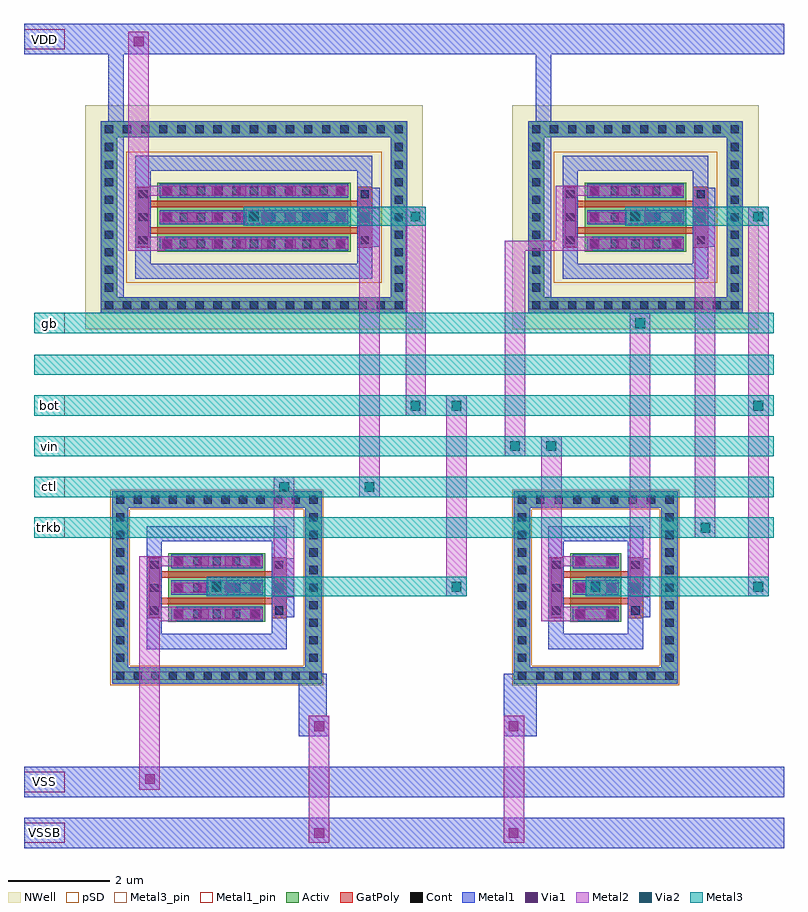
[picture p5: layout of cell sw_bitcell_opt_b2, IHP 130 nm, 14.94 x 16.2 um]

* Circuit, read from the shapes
.subckt sw_bitcell_opt_b2 VDD VSS VSSB bot ctl gb trkb vin
XM1 bot ctl VSS VSSB sg13_lv_nmos w=1.9u l=0.13u m=2
XM2 bot gb vin VSSB sg13_lv_nmos w=1u l=0.13u m=2
XM3 bot ctl VDD VDD sg13_lv_pmos w=3.8u l=0.13u m=2
XM4 bot trkb vin VDD sg13_lv_pmos w=2u l=0.13u m=2
.ends

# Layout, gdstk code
import gdstk
lib = gdstk.Library(unit=1e-6, precision=1e-09)
def R(c, l, rs):  # rectangles x0, y0, x1, y1
    for r in rs: c.add(gdstk.rectangle(r[:2], r[2:], *l))
def A(c, l, x, y, w, h, nx, ny, dx, dy):  # array of equal rectangles
    R(c, l, [(x+i*dx, y+j*dy, x+i*dx+w, y+j*dy+h) for i in range(nx) for j in range(ny)])
def P(c, l, *ps):  # polygons
    for p in ps: c.add(gdstk.Polygon(p, *l))
Activ = (1, 0)
GatPoly = (5, 0)
Cont = (6, 0)
Metal1 = (8, 0)
Metal1_pin = (8, 2)
Metal2 = (10, 0)
pSD = (14, 0)
Via1 = (19, 0)
Via2 = (29, 0)
Metal3 = (30, 0)
Metal3_pin = (30, 2)
NWell = (31, 0)

rfnmos_8 = lib.new_cell('rfnmos$8')
R(rfnmos_8, Activ, [(1.14,1.245,3.04,2.595)])
P(rfnmos_8, Activ, [(0.03,0.03),(0.03,3.49),(0.35,3.49),(0.35,0.35),(3.83,0.35),(3.83,3.49),(0.03,3.49),(0.03,3.81),(4.15,3.81),(4.15,0.03)])
R(rfnmos_8, GatPoly, [(0.71,1.32,1.01,2.52), (3.17,1.32,3.47,2.52), (1.01,1.595,3.17,1.725), (1.01,2.115,3.17,2.245)])
A(rfnmos_8, Cont, 0.11, 0.11, 0.16, 0.16, 11, 2, 0.345, 3.46)
A(rfnmos_8, Cont, 0.11, 0.46, 0.16, 0.16, 1, 9, 0, 0.345)
A(rfnmos_8, Cont, 3.91, 0.46, 0.16, 0.16, 1, 9, 0, 0.345)
A(rfnmos_8, Cont, 1.24, 1.32, 0.16, 0.16, 5, 3, 0.385, 0.52)
A(rfnmos_8, Cont, 0.78, 1.39, 0.16, 0.16, 1, 3, 0, 0.45)
A(rfnmos_8, Cont, 3.24, 1.39, 0.16, 0.16, 1, 3, 0, 0.45)
R(rfnmos_8, Cont, [(3.91,0.11,4.07,0.27), (3.91,3.57,4.07,3.73)])
A(rfnmos_8, Metal1, 1.19, 1.26, 1.8, 0.28, 1, 3, 0, 0.52)
R(rfnmos_8, Metal1, [(0.03,0.03,4.15,0.35), (0.03,0.35,0.35,3.49), (3.83,0.35,4.15,3.49), (0.76,1.34,0.96,2.5), (3.22,1.34,3.42,2.5), (0.03,3.49,4.15,3.81)])
P(rfnmos_8, Metal1, [(0.71,0.71),(0.71,2.83),(1.01,2.83),(1.01,1.01),(3.17,1.01),(3.17,2.83),(0.71,2.83),(0.71,3.13),(3.47,3.13),(3.47,0.71)])
R(rfnmos_8, Metal1_pin, [(0.03,0.11,4.15,0.27), (0.03,0.11,4.15,0.27), (1.19,1.26,2.99,1.54), (1.19,1.26,2.99,1.54), (0.76,1.34,0.96,2.5), (0.76,1.34,0.96,2.5), (1.19,1.78,2.99,2.06), (1.19,1.78,2.99,2.06)])
A(rfnmos_8, Metal2, 1.19, 1.3, 1.8, 0.2, 1, 3, 0, 0.52)
P(rfnmos_8, pSD, [(0,0),(0,3.46),(0.38,3.46),(0.38,0.38),(3.8,0.38),(3.8,3.46),(0,3.46),(0,3.84),(4.18,3.84),(4.18,0)])
A(rfnmos_8, Via1, 1.24, 1.305, 0.19, 0.19, 1, 3, 0, 0.52)
A(rfnmos_8, Via1, 1.74, 1.305, 0.19, 0.19, 3, 3, 0.505, 0.52)
rfnmos_8.add(gdstk.Label('S', (2.09,1.42), layer=63, texttype=0))
rfnmos_8.add(gdstk.Label('D', (2.09,1.94), layer=63, texttype=0))
rfnmos_8.add(gdstk.Label('G', (0.86,1.92), layer=63, texttype=0))
rfnmos_8.add(gdstk.Label('TIE', (2.09,0.19), layer=63, texttype=0))
rfnmos_8.add(gdstk.Label('rfnmos', (2.09,3.65), layer=63, texttype=0))

rfpmos_7 = lib.new_cell('rfpmos$7')
R(rfpmos_7, Activ, [(1.42,1.525,5.22,2.875)])
P(rfpmos_7, Activ, [(0.31,0.31),(0.31,3.77),(0.63,3.77),(0.63,0.63),(6.01,0.63),(6.01,3.77),(0.31,3.77),(0.31,4.09),(6.33,4.09),(6.33,0.31)])
R(rfpmos_7, GatPoly, [(0.99,1.6,1.29,2.8), (5.35,1.6,5.65,2.8), (1.29,1.875,5.35,2.005), (1.29,2.395,5.35,2.525)])
A(rfpmos_7, Cont, 0.39, 0.39, 0.16, 0.16, 4, 2, 0.355, 3.46)
A(rfpmos_7, Cont, 1.815, 0.39, 0.16, 0.16, 4, 2, 0.355, 3.46)
A(rfpmos_7, Cont, 3.24, 0.39, 0.16, 0.16, 4, 2, 0.355, 3.46)
A(rfpmos_7, Cont, 4.665, 0.39, 0.16, 0.16, 4, 2, 0.355, 3.46)
A(rfpmos_7, Cont, 0.39, 0.74, 0.16, 0.16, 1, 9, 0, 0.345)
A(rfpmos_7, Cont, 6.09, 0.74, 0.16, 0.16, 1, 9, 0, 0.345)
A(rfpmos_7, Cont, 1.52, 1.6, 0.16, 0.16, 1, 3, 0, 0.52)
A(rfpmos_7, Cont, 1.86, 1.6, 0.16, 0.16, 5, 3, 0.345, 0.52)
A(rfpmos_7, Cont, 3.58, 1.6, 0.16, 0.16, 5, 3, 0.345, 0.52)
A(rfpmos_7, Cont, 1.06, 1.67, 0.16, 0.16, 1, 3, 0, 0.45)
A(rfpmos_7, Cont, 5.42, 1.67, 0.16, 0.16, 1, 3, 0, 0.45)
R(rfpmos_7, Cont, [(6.09,0.39,6.25,0.55), (6.09,3.85,6.25,4.01)])
A(rfpmos_7, Metal1, 1.47, 1.54, 3.7, 0.28, 1, 3, 0, 0.52)
R(rfpmos_7, Metal1, [(0.31,0.31,6.33,0.63), (0.31,0.63,0.63,3.77), (6.01,0.63,6.33,3.77), (1.04,1.62,1.24,2.78), (5.4,1.62,5.6,2.78), (0.31,3.77,6.33,4.09)])
P(rfpmos_7, Metal1, [(0.99,0.99),(0.99,3.11),(1.29,3.11),(1.29,1.29),(5.35,1.29),(5.35,3.11),(0.99,3.11),(0.99,3.41),(5.65,3.41),(5.65,0.99)])
R(rfpmos_7, Metal1_pin, [(0.31,0.39,6.33,0.55), (0.31,0.39,6.33,0.55), (1.47,1.54,5.17,1.82), (1.47,1.54,5.17,1.82), (1.04,1.62,1.24,2.78), (1.04,1.62,1.24,2.78), (1.47,2.06,5.17,2.34), (1.47,2.06,5.17,2.34)])
A(rfpmos_7, Metal2, 1.47, 1.58, 3.7, 0.2, 1, 3, 0, 0.52)
R(rfpmos_7, pSD, [(0.81,0.91,5.83,3.49)])
A(rfpmos_7, Via1, 1.52, 1.585, 0.19, 0.19, 3, 3, 0.485, 0.52)
A(rfpmos_7, Via1, 2.98, 1.585, 0.19, 0.19, 1, 3, 0, 0.52)
A(rfpmos_7, Via1, 3.465, 1.585, 0.19, 0.19, 1, 3, 0, 0.52)
A(rfpmos_7, Via1, 3.955, 1.585, 0.19, 0.19, 1, 3, 0, 0.52)
A(rfpmos_7, Via1, 4.44, 1.585, 0.19, 0.19, 1, 3, 0, 0.52)
A(rfpmos_7, Via1, 4.93, 1.585, 0.19, 0.19, 1, 3, 0, 0.52)
R(rfpmos_7, NWell, [(0,0,6.64,4.4)])
rfpmos_7.add(gdstk.Label('S', (3.32,1.7), layer=63, texttype=0))
rfpmos_7.add(gdstk.Label('D', (3.32,2.22), layer=63, texttype=0))
rfpmos_7.add(gdstk.Label('G', (1.14,2.2), layer=63, texttype=0))
rfpmos_7.add(gdstk.Label('TIE', (3.32,0.47), layer=63, texttype=0))
rfpmos_7.add(gdstk.Label('rfpmos', (3.32,3.93), layer=63, texttype=0))

rfnmos_1_4 = lib.new_cell('rfnmos$1$4')
R(rfnmos_1_4, Activ, [(1.14,1.245,2.14,2.595)])
P(rfnmos_1_4, Activ, [(0.03,0.03),(0.03,3.49),(0.35,3.49),(0.35,0.35),(2.93,0.35),(2.93,3.49),(0.03,3.49),(0.03,3.81),(3.25,3.81),(3.25,0.03)])
R(rfnmos_1_4, GatPoly, [(0.71,1.32,1.01,2.52), (2.27,1.32,2.57,2.52), (1.01,1.595,2.27,1.725), (1.01,2.115,2.27,2.245)])
A(rfnmos_1_4, Cont, 0.11, 0.46, 0.16, 0.16, 1, 9, 0, 0.345)
A(rfnmos_1_4, Cont, 3.01, 0.46, 0.16, 0.16, 1, 9, 0, 0.345)
A(rfnmos_1_4, Cont, 1.24, 1.32, 0.16, 0.16, 1, 3, 0, 0.52)
A(rfnmos_1_4, Cont, 1.88, 1.32, 0.16, 0.16, 1, 3, 0, 0.52)
A(rfnmos_1_4, Cont, 0.78, 1.39, 0.16, 0.16, 1, 3, 0, 0.45)
A(rfnmos_1_4, Cont, 2.34, 1.39, 0.16, 0.16, 1, 3, 0, 0.45)
R(rfnmos_1_4, Cont, [(0.11,0.11,0.27,0.27), (0.47,0.11,0.63,0.27), (0.835,0.11,0.995,0.27), (1.195,0.11,1.355,0.27), (1.56,0.11,1.72,0.27), (1.92,0.11,2.08,0.27), (2.285,0.11,2.445,0.27), (2.645,0.11,2.805,0.27), (3.01,0.11,3.17,0.27), (0.11,3.57,0.27,3.73), (0.47,3.57,0.63,3.73), (0.835,3.57,0.995,3.73), (1.195,3.57,1.355,3.73), (1.56,3.57,1.72,3.73), (1.92,3.57,2.08,3.73), (2.285,3.57,2.445,3.73), (2.645,3.57,2.805,3.73), (3.01,3.57,3.17,3.73)])
A(rfnmos_1_4, Metal1, 1.19, 1.26, 0.9, 0.28, 1, 3, 0, 0.52)
R(rfnmos_1_4, Metal1, [(0.03,0.03,3.25,0.35), (0.03,0.35,0.35,3.49), (2.93,0.35,3.25,3.49), (0.76,1.34,0.96,2.5), (2.32,1.34,2.52,2.5), (0.03,3.49,3.25,3.81)])
P(rfnmos_1_4, Metal1, [(0.71,0.71),(0.71,2.83),(1.01,2.83),(1.01,1.01),(2.27,1.01),(2.27,2.83),(0.71,2.83),(0.71,3.13),(2.57,3.13),(2.57,0.71)])
R(rfnmos_1_4, Metal1_pin, [(0.03,0.11,3.25,0.27), (0.03,0.11,3.25,0.27), (1.19,1.26,2.09,1.54), (1.19,1.26,2.09,1.54), (0.76,1.34,0.96,2.5), (0.76,1.34,0.96,2.5), (1.19,1.78,2.09,2.06), (1.19,1.78,2.09,2.06)])
A(rfnmos_1_4, Metal2, 1.19, 1.3, 0.9, 0.2, 1, 3, 0, 0.52)
P(rfnmos_1_4, pSD, [(0,0),(0,3.46),(0.38,3.46),(0.38,0.38),(2.9,0.38),(2.9,3.46),(0,3.46),(0,3.84),(3.28,3.84),(3.28,0)])
A(rfnmos_1_4, Via1, 1.24, 1.305, 0.19, 0.19, 1, 3, 0, 0.52)
A(rfnmos_1_4, Via1, 1.85, 1.305, 0.19, 0.19, 1, 3, 0, 0.52)
rfnmos_1_4.add(gdstk.Label('S', (1.64,1.42), layer=63, texttype=0))
rfnmos_1_4.add(gdstk.Label('D', (1.64,1.94), layer=63, texttype=0))
rfnmos_1_4.add(gdstk.Label('G', (0.86,1.92), layer=63, texttype=0))
rfnmos_1_4.add(gdstk.Label('TIE', (1.64,0.19), layer=63, texttype=0))
rfnmos_1_4.add(gdstk.Label('rfnmos', (1.64,3.65), layer=63, texttype=0))

rfpmos_1_4 = lib.new_cell('rfpmos$1$4')
R(rfpmos_1_4, Activ, [(1.42,1.525,3.42,2.875)])
P(rfpmos_1_4, Activ, [(0.31,0.31),(0.31,3.77),(0.63,3.77),(0.63,0.63),(4.21,0.63),(4.21,3.77),(0.31,3.77),(0.31,4.09),(4.53,4.09),(4.53,0.31)])
R(rfpmos_1_4, GatPoly, [(0.99,1.6,1.29,2.8), (3.55,1.6,3.85,2.8), (1.29,1.875,3.55,2.005), (1.29,2.395,3.55,2.525)])
A(rfpmos_1_4, Cont, 0.74, 0.39, 0.16, 0.16, 11, 2, 0.355, 3.46)
A(rfpmos_1_4, Cont, 0.39, 0.74, 0.16, 0.16, 1, 9, 0, 0.345)
A(rfpmos_1_4, Cont, 4.29, 0.74, 0.16, 0.16, 1, 9, 0, 0.345)
A(rfpmos_1_4, Cont, 1.52, 1.6, 0.16, 0.16, 5, 3, 0.41, 0.52)
A(rfpmos_1_4, Cont, 1.06, 1.67, 0.16, 0.16, 1, 3, 0, 0.45)
A(rfpmos_1_4, Cont, 3.62, 1.67, 0.16, 0.16, 1, 3, 0, 0.45)
R(rfpmos_1_4, Cont, [(0.39,0.39,0.55,0.55), (0.39,3.85,0.55,4.01)])
A(rfpmos_1_4, Metal1, 1.47, 1.54, 1.9, 0.28, 1, 3, 0, 0.52)
R(rfpmos_1_4, Metal1, [(0.31,0.31,4.53,0.63), (0.31,0.63,0.63,3.77), (4.21,0.63,4.53,3.77), (1.04,1.62,1.24,2.78), (3.6,1.62,3.8,2.78), (0.31,3.77,4.53,4.09)])
P(rfpmos_1_4, Metal1, [(0.99,0.99),(0.99,3.11),(1.29,3.11),(1.29,1.29),(3.55,1.29),(3.55,3.11),(0.99,3.11),(0.99,3.41),(3.85,3.41),(3.85,0.99)])
R(rfpmos_1_4, Metal1_pin, [(0.31,0.39,4.53,0.55), (0.31,0.39,4.53,0.55), (1.47,1.54,3.37,1.82), (1.47,1.54,3.37,1.82), (1.04,1.62,1.24,2.78), (1.04,1.62,1.24,2.78), (1.47,2.06,3.37,2.34), (1.47,2.06,3.37,2.34)])
A(rfpmos_1_4, Metal2, 1.47, 1.58, 1.9, 0.2, 1, 3, 0, 0.52)
R(rfpmos_1_4, pSD, [(0.81,0.91,4.03,3.49)])
A(rfpmos_1_4, Via1, 1.52, 1.585, 0.19, 0.19, 3, 3, 0.535, 0.52)
A(rfpmos_1_4, Via1, 3.13, 1.585, 0.19, 0.19, 1, 3, 0, 0.52)
R(rfpmos_1_4, NWell, [(0,0,4.84,4.4)])
rfpmos_1_4.add(gdstk.Label('S', (2.42,1.7), layer=63, texttype=0))
rfpmos_1_4.add(gdstk.Label('D', (2.42,2.22), layer=63, texttype=0))
rfpmos_1_4.add(gdstk.Label('G', (1.14,2.2), layer=63, texttype=0))
rfpmos_1_4.add(gdstk.Label('TIE', (2.42,0.47), layer=63, texttype=0))
rfpmos_1_4.add(gdstk.Label('rfpmos', (2.42,3.93), layer=63, texttype=0))

sw_bitcell_opt_b2 = lib.new_cell('sw_bitcell_opt_b2')
R(sw_bitcell_opt_b2, Metal1, [(-1.2,-3.2,13.74,-2.6), (4.4,-3.1,4.8,-2.7), (8.23,-3.1,8.63,-2.7), (-1.2,-2.2,13.74,-1.6), (1.07,-2.05,1.47,-1.65), (4.2,-1,4.75,0.23), (4.4,-1,4.8,-0.6), (8.23,-1,8.63,-0.6), (8.23,-1,8.88,0.23), (3.71,1.34,4.11,2.5), (10.71,1.34,11.11,2.5), (0.46,7.44,0.76,12.4), (8.86,7.44,9.16,12.4), (5.39,8.62,5.79,9.78), (11.99,8.62,12.39,9.78), (-1.2,12.4,13.74,13), (0.85,12.45,1.25,12.85)])
R(sw_bitcell_opt_b2, Metal1_pin, [(-1.2,-3.1,-0.4,-2.7), (-1.2,-2.1,-0.4,-1.7), (-1.2,12.5,-0.4,12.9)])
R(sw_bitcell_opt_b2, Metal2, [(4.4,-3.1,4.8,-2.7), (8.23,-3.1,8.63,-2.7), (4.4,-2.9,4.8,-0.8), (8.23,-2.9,8.63,-0.8), (1.07,-2.05,1.47,-1.65), (1.07,-1.9,1.47,1.46), (4.4,-1,4.8,-0.6), (8.23,-1,8.63,-0.6), (1.07,1.26,1.79,1.54), (1.07,1.26,1.47,2.54), (8.97,1.26,9.69,1.54), (8.97,1.26,9.37,2.54), (3.71,1.73,4.11,2.11), (10.71,1.73,11.11,2.11), (2.39,1.75,2.79,2.13), (7.1,1.75,7.5,2.13), (9.84,1.75,10.24,2.13), (13.04,1.75,13.44,2.13), (3.71,1.92,4.11,3.9), (10.71,1.92,11.11,7.12), (7.1,1.94,7.5,5.5), (13.04,1.94,13.44,5.5), (1.07,2.34,1.79,2.54), (8.97,2.34,9.69,2.54), (8.97,2.4,9.37,4.9), (11.99,2.9,12.39,3.3), (11.99,3.1,12.39,9.2), (3.71,3.7,4.11,4.1), (5.39,3.7,5.79,4.1), (5.39,3.9,5.79,9.2), (8.25,4.5,8.65,4.9), (8.25,4.5,8.65,8.74), (8.97,4.5,9.37,4.9), (6.3,5.3,6.7,5.7), (7.1,5.3,7.5,5.7), (13.04,5.3,13.44,5.7), (13.04,5.3,13.44,5.7), (6.3,5.5,6.7,9.22), (13.04,5.5,13.44,9.22), (10.71,6.93,11.11,7.31), (0.85,8.54,1.57,8.82), (0.85,8.54,1.25,9.82), (8.25,8.54,9.65,8.74), (9.25,8.54,9.97,8.82), (9.25,8.54,9.65,9.82), (5.39,9.01,5.79,9.39), (11.99,9.01,12.39,9.39), (3.12,9.03,3.52,9.41), (6.3,9.03,6.7,9.41), (10.62,9.03,11.02,9.41), (13.04,9.03,13.44,9.41), (0.85,9.62,1.57,9.82), (0.85,9.62,1.25,12.7), (9.25,9.62,9.97,9.82), (0.85,12.45,1.25,12.85)])
R(sw_bitcell_opt_b2, Via1, [(4.51,-3,4.7,-2.81), (8.33,-3,8.52,-2.81), (1.18,-1.94,1.37,-1.75), (4.51,-0.9,4.7,-0.71), (8.33,-0.9,8.52,-0.71), (3.72,1.82,3.91,2.01), (10.72,1.82,10.91,2.01), (5.4,9.1,5.59,9.29), (12,9.1,12.19,9.29), (0.96,12.56,1.15,12.75)])
R(sw_bitcell_opt_b2, Via2, [(2.49,1.84,2.68,2.03), (7.21,1.84,7.4,2.03), (9.94,1.84,10.13,2.03), (13.14,1.84,13.33,2.03), (12.1,3,12.29,3.19), (3.82,3.8,4.01,3.99), (5.5,3.8,5.69,3.99), (8.36,4.61,8.55,4.8), (9.07,4.61,9.26,4.8), (6.4,5.4,6.59,5.59), (7.21,5.4,7.4,5.59), (13.14,5.4,13.33,5.59), (13.14,5.4,13.33,5.59), (10.82,7.02,11.01,7.21), (3.22,9.12,3.41,9.31), (6.4,9.12,6.59,9.31), (10.72,9.12,10.91,9.31), (13.14,9.12,13.33,9.31)])
A(sw_bitcell_opt_b2, Metal3, -1, 2.9, 14.54, 0.4, 1, 5, 0, 0.8)
R(sw_bitcell_opt_b2, Metal3, [(2.39,1.75,7.5,2.13), (2.39,1.75,2.79,2.13), (7.1,1.75,7.5,2.13), (9.84,1.75,10.24,2.13), (9.84,1.75,13.44,2.13), (13.04,1.75,13.44,2.13), (11.99,2.9,12.39,3.3), (3.71,3.7,4.11,4.1), (5.39,3.7,5.79,4.1), (8.25,4.5,8.65,4.9), (8.97,4.5,9.37,4.9), (6.3,5.3,6.7,5.7), (7.1,5.3,7.5,5.7), (13.04,5.3,13.44,5.7), (13.04,5.3,13.44,5.7), (-1,6.92,13.54,7.32), (10.71,6.93,11.11,7.31), (3.12,9.03,3.52,9.41), (3.12,9.03,6.7,9.41), (6.3,9.03,6.7,9.41), (10.62,9.03,11.02,9.41), (10.62,9.03,13.44,9.41), (13.04,9.03,13.44,9.41)])
A(sw_bitcell_opt_b2, Metal3_pin, -1, 2.9, 0.6, 0.4, 1, 4, 0, 0.8)
R(sw_bitcell_opt_b2, Metal3_pin, [(-1,6.92,-0.4,7.32)])
sw_bitcell_opt_b2.add(gdstk.Reference(rfnmos_8, (0.5,0)))
sw_bitcell_opt_b2.add(gdstk.Reference(rfpmos_7, (0,7)))
sw_bitcell_opt_b2.add(gdstk.Reference(rfnmos_1_4, (8.4,0)))
sw_bitcell_opt_b2.add(gdstk.Reference(rfpmos_1_4, (8.4,7)))
sw_bitcell_opt_b2.add(gdstk.Label('VSS', (-0.8,-1.9), layer=8, texttype=25))
sw_bitcell_opt_b2.add(gdstk.Label('VSSB', (-0.8,-2.9), layer=8, texttype=25))
sw_bitcell_opt_b2.add(gdstk.Label('VDD', (-0.8,12.7), layer=8, texttype=25))
sw_bitcell_opt_b2.add(gdstk.Label('bot', (-0.7,5.5), layer=30, texttype=25))
sw_bitcell_opt_b2.add(gdstk.Label('vin', (-0.7,4.7), layer=30, texttype=25))
sw_bitcell_opt_b2.add(gdstk.Label('ctl', (-0.7,3.9), layer=30, texttype=25))
sw_bitcell_opt_b2.add(gdstk.Label('trkb', (-0.7,3.1), layer=30, texttype=25))
sw_bitcell_opt_b2.add(gdstk.Label('gb', (-0.7,7.12), layer=30, texttype=25))

lib.write_gds('sw_bitcell_opt_b2.gds')
